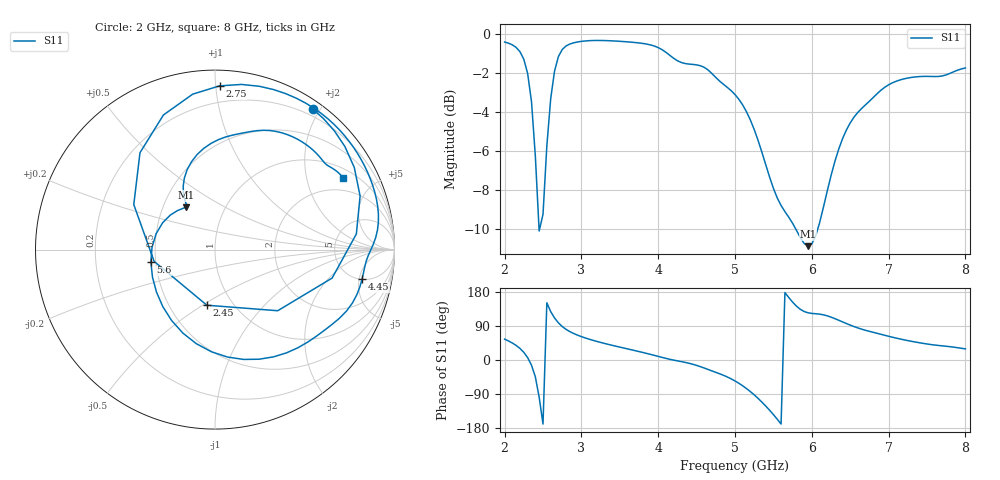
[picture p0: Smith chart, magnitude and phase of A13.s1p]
! Generated by Hertzon (EMerge FEM)
# HZ S RI R 50
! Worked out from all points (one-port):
!   121 points, 2 GHz to 8 GHz, reference 50 ohm
!   lowest |S11| = -10.9 dB at 5.95 GHz (marker M1), VSWR 1.80, Z = 32.6 + j16.8 ohm
!   |S11| at or under -10 dB: 2.448903 GHz to 2.454949 GHz (6.046 MHz wide, 0.247 % of centre); 5.793 GHz to 6.076 GHz (282.5 MHz wide, 4.76 % of centre)
!   S11 on the Smith chart (normalised r, x): 2 GHz: 0.11, +1.92; 2.45 GHz: 0.76, -0.52; 2.75 GHz: 0.09, +1.02; 4.45 GHz: 5.10, -5.52; 5.6 GHz: 0.47, -0.08; 8 GHz: 1.36, +3.30
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2e9  0.547 0.7815
2.15e9  0.7234 0.5748
2.3e9  0.7876 0.0871
2.35e9  0.6526 -0.1585
2.4e9  0.3495 -0.3406
2.45e9  -0.0454 -0.3099
2.5e9  -0.3392 -0.0656
2.55e9  -0.4525 0.2509
2.65e9  -0.2874 0.7499
2.75e9  0.0254 0.9122
2.9e9  0.327 0.8914
3.05e9  0.5055 0.816
3.5e9  0.7941 0.5356
3.9e9  0.9066 0.2394
4.25e9  0.8537 -0.0333
4.45e9  0.8198 -0.1631
4.65e9  0.7328 -0.3423
5e9  0.3985 -0.5752
5.25e9  -0.0196 -0.5694
5.45e9  -0.2907 -0.3178
5.6e9  -0.3572 -0.0696
5.75e9  -0.2913 0.1501
5.95e9  -0.1626 0.2358
6.25e9  -0.1707 0.3987
6.5e9  -0.0222 0.5918
6.9e9  0.2708 0.6648
7.25e9  0.4832 0.6014
8e9  0.7138 0.401
